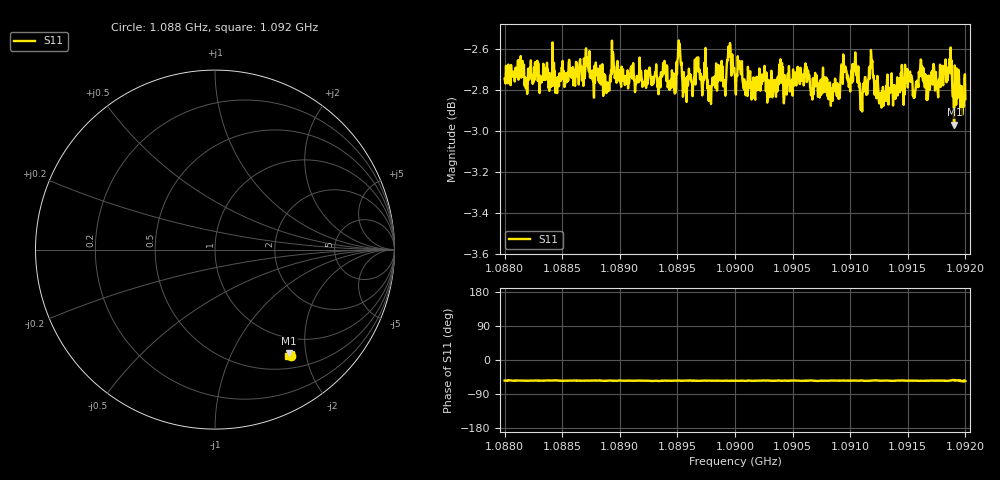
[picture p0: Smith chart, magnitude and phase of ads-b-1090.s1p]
! Calibrated averaged scanner-service zoom
# Hz S RI R 50
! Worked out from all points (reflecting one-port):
!   1001 points, 1.088 GHz to 1.092 GHz, reference 50 ohm
!   lowest |S11| = -3.0 dB at 1.0919 GHz (marker M1), VSWR 5.91, Z = 36.5 - j85.2 ohm
!   phase of S11 starts at -54 deg and turns -1 deg over the sweep
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1.088e9  0.4241 -0.5929
1.088192e9  0.4183 -0.5932
1.088432e9  0.4335 -0.5885
1.0885e9  0.4239 -0.5958
1.088812e9  0.4284 -0.5948
1.088872e9  0.4194 -0.5979
1.089e9  0.4321 -0.5914
1.089344e9  0.4126 -0.6001
1.0895e9  0.428 -0.5992
1.08978e9  0.4186 -0.5911
1.089956e9  0.4273 -0.6086
1.09e9  0.4226 -0.5952
1.0905e9  0.4203 -0.5871
1.090588e9  0.422 -0.595
1.090652e9  0.4282 -0.5855
1.090716e9  0.4153 -0.5962
1.090848e9  0.4193 -0.5853
1.091e9  0.419 -0.5901
1.0911e9  0.4254 -0.5838
1.091176e9  0.4274 -0.5957
1.091232e9  0.4282 -0.5877
1.091364e9  0.4154 -0.5922
1.091436e9  0.4232 -0.5908
1.0915e9  0.4197 -0.5916
1.091756e9  0.4167 -0.5954
1.091844e9  0.4149 -0.5984
1.091904e9  0.4133 -0.5778
1.092e9  0.4091 -0.5934
